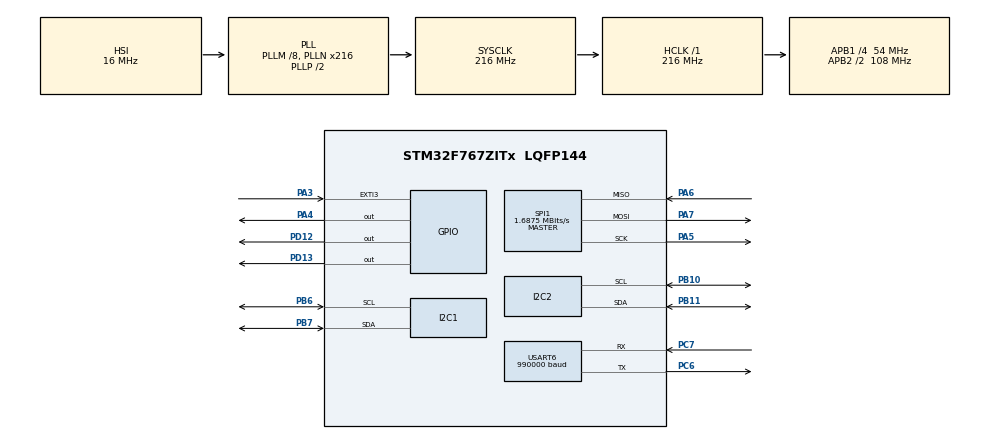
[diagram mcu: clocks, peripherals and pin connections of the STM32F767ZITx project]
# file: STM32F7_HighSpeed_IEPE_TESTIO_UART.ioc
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Dma.I2C1_TX.0.Direction=DMA_MEMORY_TO_PERIPH
Dma.I2C1_TX.0.FIFOMode=DMA_FIFOMODE_DISABLE
Dma.I2C1_TX.0.Instance=DMA1_Stream6
Dma.I2C1_TX.0.MemDataAlignment=DMA_MDATAALIGN_BYTE
Dma.I2C1_TX.0.MemInc=DMA_MINC_ENABLE
Dma.I2C1_TX.0.Mode=DMA_NORMAL
Dma.I2C1_TX.0.PeriphDataAlignment=DMA_PDATAALIGN_BYTE
Dma.I2C1_TX.0.PeriphInc=DMA_PINC_DISABLE
Dma.I2C1_TX.0.Priority=DMA_PRIORITY_LOW
Dma.Request0=I2C1_TX
Dma.Request1=SPI1_RX
Dma.Request2=SPI1_TX
Dma.Request3=USART6_TX
Dma.SPI1_RX.1.Direction=DMA_PERIPH_TO_MEMORY
Dma.SPI1_RX.1.FIFOMode=DMA_FIFOMODE_DISABLE
Dma.SPI1_RX.1.Instance=DMA2_Stream0
Dma.SPI1_RX.1.MemDataAlignment=DMA_MDATAALIGN_BYTE
Dma.SPI1_RX.1.MemInc=DMA_MINC_ENABLE
Dma.SPI1_RX.1.Mode=DMA_NORMAL
Dma.SPI1_RX.1.PeriphDataAlignment=DMA_PDATAALIGN_BYTE
Dma.SPI1_RX.1.PeriphInc=DMA_PINC_DISABLE
Dma.SPI1_RX.1.Priority=DMA_PRIORITY_LOW
Dma.SPI1_TX.2.Direction=DMA_MEMORY_TO_PERIPH
Dma.SPI1_TX.2.FIFOMode=DMA_FIFOMODE_DISABLE
Dma.SPI1_TX.2.Instance=DMA2_Stream3
Dma.SPI1_TX.2.MemDataAlignment=DMA_MDATAALIGN_BYTE
Dma.SPI1_TX.2.MemInc=DMA_MINC_ENABLE
Dma.SPI1_TX.2.Mode=DMA_NORMAL
Dma.SPI1_TX.2.PeriphDataAlignment=DMA_PDATAALIGN_BYTE
Dma.SPI1_TX.2.PeriphInc=DMA_PINC_DISABLE
Dma.SPI1_TX.2.Priority=DMA_PRIORITY_LOW
Dma.USART6_TX.3.Direction=DMA_MEMORY_TO_PERIPH
Dma.USART6_TX.3.FIFOMode=DMA_FIFOMODE_DISABLE
Dma.USART6_TX.3.Instance=DMA2_Stream6
Dma.USART6_TX.3.MemDataAlignment=DMA_MDATAALIGN_BYTE
Dma.USART6_TX.3.MemInc=DMA_MINC_ENABLE
Dma.USART6_TX.3.Mode=DMA_NORMAL
Dma.USART6_TX.3.PeriphDataAlignment=DMA_PDATAALIGN_BYTE
Dma.USART6_TX.3.PeriphInc=DMA_PINC_DISABLE
Dma.USART6_TX.3.Priority=DMA_PRIORITY_LOW
FREERTOS.BinarySemaphores01=adcBinarySem,Dynamic,NULL;I2cBinarySem,Dynamic,NULL
FREERTOS.Queues01=adcQueue,16,long,0,Dynamic,NULL,NULL
FREERTOS.Tasks01=ADC_Task,3,200,ADC_Thread,Default,NULL,Dynamic,NULL,NULL;FFT_Task,2,400,FFT_Thread,Default,NULL,Dynamic,NULL,NULL
I2C1.GeneralCallMode=I2C_GENERALCALL_ENABLE
I2C1.OwnAddress=2
I2C1.Timing=0x20404768
I2C2.GeneralCallMode=I2C_GENERALCALL_ENABLE
I2C2.OwnAddress=4
I2C2.Timing=0x20404768
IWDG.Prescaler=IWDG_PRESCALER_128
IWDG.Reload=3096
Mcu.Family=STM32F7
Mcu.Name=STM32F767ZITx
Mcu.Package=LQFP144
NVIC.DMA1_Stream6_IRQn=true\:5\:0\:false\:false\:true\:true\:false\:true
NVIC.DMA2_Stream0_IRQn=true\:5\:0\:false\:false\:true\:true\:false\:true
NVIC.DMA2_Stream3_IRQn=true\:5\:0\:false\:false\:true\:true\:false\:true
NVIC.DMA2_Stream6_IRQn=true\:5\:0\:false\:false\:true\:true\:false\:true
NVIC.EXTI3_IRQn=true\:5\:0\:false\:false\:true\:true\:true\:true
NVIC.I2C1_ER_IRQn=true\:5\:0\:false\:false\:true\:true\:true\:true
NVIC.I2C1_EV_IRQn=true\:5\:0\:false\:false\:true\:true\:true\:true
NVIC.PriorityGroup=NVIC_PRIORITYGROUP_4
NVIC.USART6_IRQn=true\:3\:0\:true\:false\:true\:false\:true\:true
PA3.GPIO_ModeDefaultEXTI=GPIO_MODE_IT_FALLING
PA3.Signal=GPXTI3
PA4.GPIO_PuPd=GPIO_PULLUP
PA4.GPIO_Speed=GPIO_SPEED_FREQ_VERY_HIGH
PA4.Signal=GPIO_Output
PA5.Mode=Full_Duplex_Master
PA5.Signal=SPI1_SCK
PA6.Mode=Full_Duplex_Master
PA6.Signal=SPI1_MISO
PA7.Mode=Full_Duplex_Master
PA7.Signal=SPI1_MOSI
PB10.Mode=I2C
PB10.Signal=I2C2_SCL
PB11.Mode=I2C
PB11.Signal=I2C2_SDA
PB6.Mode=I2C
PB6.Signal=I2C1_SCL
PB7.Mode=I2C
PB7.Signal=I2C1_SDA
PC6.Mode=Asynchronous
PC6.Signal=USART6_TX
PC7.Mode=Asynchronous
PC7.Signal=USART6_RX
PD12.Signal=GPIO_Output
PD13.Signal=GPIO_Output
PH0/OSC_IN.Mode=HSE-External-Oscillator
PH0/OSC_IN.Signal=RCC_OSC_IN
PH1/OSC_OUT.Mode=HSE-External-Oscillator
PH1/OSC_OUT.Signal=RCC_OSC_OUT
ProjectManager.HeapSize=0x200
ProjectManager.StackSize=0x400
ProjectManager.TargetToolchain=STM32CubeIDE
RCC.48MHZClocksFreq_Value=24000000
RCC.AHBFreq_Value=216000000
RCC.APB1CLKDivider=RCC_HCLK_DIV4
RCC.APB1Freq_Value=54000000
RCC.APB1TimFreq_Value=108000000
RCC.APB2CLKDivider=RCC_HCLK_DIV2
RCC.APB2Freq_Value=108000000
RCC.APB2TimFreq_Value=216000000
RCC.CortexFreq_Value=216000000
RCC.HCLKFreq_Value=216000000
RCC.HSE_VALUE=16000000
RCC.HSI_VALUE=16000000
RCC.LSE_VALUE=32768
RCC.PLLM=8
RCC.PLLMUL=RCC_PLL_MUL9
RCC.PLLN=216
RCC.PRESCALERUSB=RCC_USBCLKSOURCE_PLL_DIV1_5
RCC.SYSCLKFreq_VALUE=216000000
RCC.SYSCLKSource=RCC_SYSCLKSOURCE_PLLCLK
RCC.SYSCLKSourceVirtual=RCC_SYSCLKSOURCE_PLLCLK
RCC.USBFreq_Value=216000000
RCC.VCOOutputFreq_Value=432000000
SPI1.BaudRatePrescaler=SPI_BAUDRATEPRESCALER_64
SPI1.CLKPhase=SPI_PHASE_2EDGE
SPI1.CalculateBaudRate=1.6875 MBits/s
SPI1.DataSize=SPI_DATASIZE_8BIT
SPI1.Direction=SPI_DIRECTION_2LINES
SPI1.Mode=SPI_MODE_MASTER
SPI1.VirtualType=VM_MASTER
USART6.BaudRate=990000
USART6.VirtualMode-Asynchronous=VM_ASYNC
VP_FREERTOS_VS_CMSIS_V1.Mode=CMSIS_V1
VP_IWDG_VS_IWDG.Mode=IWDG_Activate
board=NUCLEO-F767ZI

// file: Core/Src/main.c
/* USER CODE BEGIN Header */
/**
  ******************************************************************************
  ******************************************************************************
  * @file           : main.c
  * @brief          : Main program body
  * @Author 		: George
  ******************************************************************************
  * @attention
  *
  * <h2><center>&copy; Copyright (c) 2020 STMicroelectronics.
  * All rights reserved.</center></h2>
  *
  * This software component is licensed by ST under BSD 3-Clause license,
  * the "Licens.0e"; You may not use this file except in compliance with the
  * License. You may obtain a copy of the License at:
  *                        opensource.org/licenses/BSD-3-Clause
  *
  ******************************************************************************
  */
/* USER CODE END Header */
#include "main.h"
#include "cmsis_os.h"

/* USER CODE BEGIN Includes */
#include "Delay.h"
#include "Calculate_statistic.h"
#include "arm_const_structs.h"
#include "arm_math.h"
#include "ADS1256.h"
#include "BLE_USART.h"

/* USER CODE END Includes */

/* USER CODE BEGIN PTD */
#define FFT_LENGTH_SAMPLES 8192
/* USER CODE END PTD */

/* USER CODE BEGIN PD */
//IIC EEPROM
#define ADDR_24LCxx_Write 0xA0
#define ADDR_24LCxx_Read 0xA1
#define BufferSize 0x100

/* USER CODE END PD */

I2C_HandleTypeDef hi2c1;
I2C_HandleTypeDef hi2c2;
DMA_HandleTypeDef hdma_i2c1_tx;

IWDG_HandleTypeDef hiwdg;

SPI_HandleTypeDef hspi1;
DMA_HandleTypeDef hdma_spi1_rx;
DMA_HandleTypeDef hdma_spi1_tx;

UART_HandleTypeDef huart6;
DMA_HandleTypeDef hdma_usart6_tx;

osThreadId ADC_TaskHandle;
osThreadId FFT_TaskHandle;
osMessageQId adcQueueHandle;
osSemaphoreId adcBinarySemHandle;
osSemaphoreId I2cBinarySemHandle;
/* USER CODE BEGIN PV */
/*
 * I2C private value
 * */
uint8_t aRxBuffer[1];
struct I2cCommunication
{
	uint8_t i2cRecive;
	uint8_t i2cSend;
} I2cC;

uint8_t I2cbuffer[3];

union FLOAT_BYTE
{
 float f;
 uint8_t byte[sizeof(float)];
}F2B;

/*
 *TODO: Define STM32 Studio charting value
 * */
uint8_t tempid=0;
uint8_t id=0;
float data;
int32_t read = 0;

/*
 *
 * TODO: For FFT_Thread Bluetooth transmit
 * using moving average while variable times is 3
 * variable : d
 *
 * */
uint8_t averageTimes = 0;

/*
 * TODO: Define send to ADC message
 * */
uint8_t RDATACsend_data[3] = {0xff,0xff,0xff};
uint8_t Databuffer[3] = {0x00,0x00,0x00};
uint8_t RDATACcmdbuffer[1] = {CMD_RDATAC};
uint8_t SDATACcmduffer[1] = {CMD_SDATAC};

/*
 * TODO: FFT using
 * */
uint32_t fftSize = 4096;
uint32_t ifftFlag = 0;
uint32_t doBitReverse = 1;
uint32_t FFT_COUINT = 0;
uint32_t testIndex = 0;
float32_t maxValue;
float32_t *statisticDataSet;
uint32_t maxtestIndex = 0;
uint32_t mintestIndex = 0;
uint32_t dataLength = 0;

//TODO: FFT set band
FreqMaxMin * settingValue = 0;

//TODO: IIC EEPROM 2402C
uint8_t WriteBufferEEPROM[BufferSize],ReadBufferEEPROM[BufferSize];

uint8_t WriteIICEEPROM[1];

//TODO: BLE 080i
USART_BLE USARTBLE;
/*
 * TODO:Define Statistic function
 */
extern Sv statistic_value;
/* FreeRTOS private variables;*/
UBaseType_t queueCount;
/* USER CODE END PV */

void SystemClock_Config(void);
static void MX_GPIO_Init(void);
static void MX_DMA_Init(void);
static void MX_SPI1_Init(void);
static void MX_I2C1_Init(void);
static void MX_USART6_UART_Init(void);
static void MX_I2C2_Init(void);
static void MX_IWDG_Init(void);
void ADC_Thread(void const * argument);
void FFT_Thread(void const * argument);

/* USER CODE BEGIN PFP */

//IIC EEPROM function
void readIICEEPROM_2402C(void);
void writeIICEEPROM_2402C(uint8_t *data);

/* USER CODE END PFP */

/* USER CODE BEGIN 0 */

/*=============================================================================================================
 * TODO: IIC Function
 *
 *
 * */
void readIICEEPROM_2402C(void)
{
	  HAL_I2C_Mem_Read(&hi2c2, ADDR_24LCxx_Read, 0, I2C_MEMADD_SIZE_16BIT,ReadBufferEEPROM,BufferSize, 1000);
}
void writeIICEEPROM_2402C(uint8_t *data)
{
		if(HAL_I2C_Mem_Write(&hi2c2, ADDR_24LCxx_Write, 0, I2C_MEMADD_SIZE_16BIT, data,1, 0xff) == HAL_OK)
		{
			TM_DelayMicros(5000);
		}
		else
		{
			TM_DelayMicros(5000);
		}
}

//TODO: extern float32_t testInput_f32_10khz[TEST_LENGTH_SAMPLES];
float32_t testOutput[FFT_LENGTH_SAMPLES/2];
float *dataRecive[4096];
float *xdatatoSend = ADS1256.data_buffer;
float FFTdata[8192];
float rawData[4096];

float speedans = 0;

//TODO:data transmission via UART

uint8_t transmissionDataByUart[45000];
int transmitCount = 0;

uint8_t STX[2] = {0xff,0x02};
uint8_t ETX[2] = {0xff,0x03};

enum UARTtransmissionStatus
{
	UART_BUSY = 0,
	UART_NORMAL,
}UARTtransmissionStatus;

int UART_Flag = 0;
/* USER CODE END 0 */

int main(void)
{

  /* MCU Configuration--------------------------------------------------------*/

  /* Reset of all peripherals, Initializes the Flash interface and the Systick. */
  HAL_Init();

  /* Configure the system clock */
  SystemClock_Config();

  /* Initialize all configured peripherals */
  MX_GPIO_Init();
  MX_DMA_Init();
  MX_SPI1_Init();
  MX_I2C1_Init();
  MX_USART6_UART_Init();
  MX_I2C2_Init();
  //MX_IWDG_Init();
  /* USER CODE BEGIN 2 */

//    while(1)
//    {
//
//    	  if(HAL_UART_Transmit(&huart6, "RESTART\r\n", 9, 10)==HAL_OK)
//    	  {
//
//    	  }
//    }

  USARTBLE.RxCount=0;
  HAL_UART_Receive_IT(&huart6, (uint8_t *)aRxBuffer, 1);
  __enable_irq();

  statisticDataSet = rawData;
   dataLength = sizeof(dataRecive)/sizeof(float);

   //TODO: Initial UART status
   UART_Flag = UART_NORMAL;

   //TODO: Test BLE command
   //char str[] ="This is a simple string aaa";
   float32_t aa[3] = {1,2,3};
   float32_t b[3];
   memcpy(b,aa,sizeof(aa));
   //_Bool command = checkBLECommandFromBLEGateway(str ,str);

   //TODO: Initialize ADS1256 data buffer size
   ADS1256.data_index = 0;
   ADS1256.data_length = dataLength;

   //TODO: Initialize Frequency range to collection to feature
   //F2B.f = 1.4567;

   //TODO: Initialize delay systick
   delay_init(216);
   delay_ms(500);
   delay_ms(500);
   delay_ms(500);

   TM_Delay_Init();

   readIICEEPROM_2402C();
   waitDRDY();
   writeCMD(CMD_SDATAC);

   //TODO: Reset ADS1256
   waitDRDY();
   writeCMD(CMD_RESET);
   delay_ms(10);
   TM_DelayMicros(1);

   //TODO: Initialize ADS1256 parameter (Buffer, PGA, Sampling rate)
   waitDRDY();
   setBuffer();
   waitDRDY();
   setPGA(PGA_GAIN1);
   waitDRDY();
   setDataRate(DRATE_15000);

   //TODO: Read chip id
   waitDRDY();
   id = readChipID();

   delay_ms(500);// wait for initialization

   uint8_t  posChannels [4] = {AIN0, AIN2, AIN4, AIN6};
   uint8_t  negChannels [4] = {AIN1, AIN3, AIN5, AIN7};

   //TODO: Set differential analog input channel.
   waitDRDY();
   setDIFFChannel(posChannels[0], negChannels[0]);

   waitDRDY();
   writeCMD(CMD_SELFCAL);

   waitDRDY();
   delay_us(15);
   waitDRDY();
   writeCMD(CMD_SYNC);    // SYNC command
   delay_us(10);
   waitDRDY();
   writeCMD(CMD_WAKEUP);  // WAKEUP command
   delay_us(15); // min delay: t11 = 4 * 1 / 7,68 Mhz = 0,52 micro sec

   //TODO: Set continuous mode.

	waitDRDY();
	CS_0();
	HAL_SPI_Transmit(&hspi1, RDATACcmdbuffer ,1,50);
	delay_ms(25); // min delay: t6 = 50 * 1/7.68 MHz = 6.5 microseconds
	ADS1256.data_startFlag = 1;
	delay_us(1);

  /* USER CODE END 2 */

  /* Create the semaphores(s) */
  /* definition and creation of adcBinarySem */
  osSemaphoreDef(adcBinarySem);
  adcBinarySemHandle = osSemaphoreCreate(osSemaphore(adcBinarySem), 1);

  /* definition and creation of I2cBinarySem */
  //osSemaphoreDef(I2cBinarySem);
  //I2cBinarySemHandle = osSemaphoreCreate(osSemaphore(I2cBinarySem), 1);

  /* Create the queue(s) */
  /* definition and creation of adcQueue */
  osMessageQDef(adcQueue, 16, long);
  adcQueueHandle = osMessageCreate(osMessageQ(adcQueue), NULL);

  /* Create the thread(s) */
  /* definition and creation of ADC_Task */
  osThreadDef(ADC_Task, ADC_Thread, osPriorityRealtime, 0, 200);
  ADC_TaskHandle = osThreadCreate(osThread(ADC_Task), NULL);

  /* definition and creation of FFT_Task */
  //osThreadDef(FFT_Task, FFT_Thread, osPriorityHigh, 0, 400);
  //FFT_TaskHandle = osThreadCreate(osThread(FFT_Task), NULL);

  /* Start scheduler */
  osKernelStart();

  /* We should never get here as control is now taken by the scheduler */
  /* Infinite loop */
  while (1)
  {

  }
}

void SystemClock_Config(void)
{
  RCC_OscInitTypeDef RCC_OscInitStruct = {0};
  RCC_ClkInitTypeDef RCC_ClkInitStruct = {0};
  RCC_PeriphCLKInitTypeDef PeriphClkInitStruct = {0};

  /** Configure the main internal regulator output voltage
  */
  __HAL_RCC_PWR_CLK_ENABLE();
  __HAL_PWR_VOLTAGESCALING_CONFIG(PWR_REGULATOR_VOLTAGE_SCALE1);
  /** Initializes the RCC Oscillators according to the specified parameters
  * in the RCC_OscInitTypeDef structure.
  */
  RCC_OscInitStruct.OscillatorType = RCC_OSCILLATORTYPE_HSI|RCC_OSCILLATORTYPE_LSI;
  RCC_OscInitStruct.HSIState = RCC_HSI_ON;
  RCC_OscInitStruct.HSICalibrationValue = RCC_HSICALIBRATION_DEFAULT;
  RCC_OscInitStruct.LSIState = RCC_LSI_ON;
  RCC_OscInitStruct.PLL.PLLState = RCC_PLL_ON;
  RCC_OscInitStruct.PLL.PLLSource = RCC_PLLSOURCE_HSI;
  RCC_OscInitStruct.PLL.PLLM = 8;
  RCC_OscInitStruct.PLL.PLLN = 216;
  RCC_OscInitStruct.PLL.PLLP = RCC_PLLP_DIV2;
  RCC_OscInitStruct.PLL.PLLQ = 2;
  if (HAL_RCC_OscConfig(&RCC_OscInitStruct) != HAL_OK)
  {
    Error_Handler();
  }
  /** Activate the Over-Drive mode
  */
  if (HAL_PWREx_EnableOverDrive() != HAL_OK)
  {
    Error_Handler();
  }
  /** Initializes the CPU, AHB and APB buses clocks
  */
  RCC_ClkInitStruct.ClockType = RCC_CLOCKTYPE_HCLK|RCC_CLOCKTYPE_SYSCLK
                              |RCC_CLOCKTYPE_PCLK1|RCC_CLOCKTYPE_PCLK2;
  RCC_ClkInitStruct.SYSCLKSource = RCC_SYSCLKSOURCE_PLLCLK;
  RCC_ClkInitStruct.AHBCLKDivider = RCC_SYSCLK_DIV1;
  RCC_ClkInitStruct.APB1CLKDivider = RCC_HCLK_DIV4;
  RCC_ClkInitStruct.APB2CLKDivider = RCC_HCLK_DIV2;

  if (HAL_RCC_ClockConfig(&RCC_ClkInitStruct, FLASH_LATENCY_7) != HAL_OK)
  {
    Error_Handler();
  }
  PeriphClkInitStruct.PeriphClockSelection = RCC_PERIPHCLK_USART6|RCC_PERIPHCLK_I2C1
                              |RCC_PERIPHCLK_I2C2;
  PeriphClkInitStruct.Usart6ClockSelection = RCC_USART6CLKSOURCE_PCLK2;
  PeriphClkInitStruct.I2c1ClockSelection = RCC_I2C1CLKSOURCE_PCLK1;
  PeriphClkInitStruct.I2c2ClockSelection = RCC_I2C2CLKSOURCE_PCLK1;
  if (HAL_RCCEx_PeriphCLKConfig(&PeriphClkInitStruct) != HAL_OK)
  {
    Error_Handler();
  }
}

static void MX_I2C1_Init(void)
{

  hi2c1.Instance = I2C1;
  hi2c1.Init.Timing = 0x20404768;
  hi2c1.Init.OwnAddress1 = 4;
  hi2c1.Init.AddressingMode = I2C_ADDRESSINGMODE_7BIT;
  hi2c1.Init.DualAddressMode = I2C_DUALADDRESS_DISABLE;
  hi2c1.Init.OwnAddress2 = 0;
  hi2c1.Init.OwnAddress2Masks = I2C_OA2_NOMASK;
  hi2c1.Init.GeneralCallMode = I2C_GENERALCALL_ENABLE;
  hi2c1.Init.NoStretchMode = I2C_NOSTRETCH_DISABLE;
  if (HAL_I2C_Init(&hi2c1) != HAL_OK)
  {
    Error_Handler();
  }
  /** Configure Analogue filter
  */
  if (HAL_I2CEx_ConfigAnalogFilter(&hi2c1, I2C_ANALOGFILTER_ENABLE) != HAL_OK)
  {
    Error_Handler();
  }
  /** Configure Digital filter
  */
  if (HAL_I2CEx_ConfigDigitalFilter(&hi2c1, 0) != HAL_OK)
  {
    Error_Handler();
  }

}

static void MX_I2C2_Init(void)
{

  hi2c2.Instance = I2C2;
  hi2c2.Init.Timing = 0x20404768;
  hi2c2.Init.OwnAddress1 = 8;
  hi2c2.Init.AddressingMode = I2C_ADDRESSINGMODE_7BIT;
  hi2c2.Init.DualAddressMode = I2C_DUALADDRESS_DISABLE;
  hi2c2.Init.OwnAddress2 = 0;
  hi2c2.Init.OwnAddress2Masks = I2C_OA2_NOMASK;
  hi2c2.Init.GeneralCallMode = I2C_GENERALCALL_ENABLE;
  hi2c2.Init.NoStretchMode = I2C_NOSTRETCH_DISABLE;
  if (HAL_I2C_Init(&hi2c2) != HAL_OK)
  {
    Error_Handler();
  }
  /** Configure Analogue filter
  */
  if (HAL_I2CEx_ConfigAnalogFilter(&hi2c2, I2C_ANALOGFILTER_ENABLE) != HAL_OK)
  {
    Error_Handler();
  }
  /** Configure Digital filter
  */
  if (HAL_I2CEx_ConfigDigitalFilter(&hi2c2, 0) != HAL_OK)
  {
    Error_Handler();
  }

}

static void MX_IWDG_Init(void)
{

  hiwdg.Instance = IWDG;
  hiwdg.Init.Prescaler = IWDG_PRESCALER_128;
  hiwdg.Init.Window = 4095;
  hiwdg.Init.Reload = 3096;
  if (HAL_IWDG_Init(&hiwdg) != HAL_OK)
  {
    Error_Handler();
  }

}

static void MX_SPI1_Init(void)
{

  /* SPI1 parameter configuration*/
  hspi1.Instance = SPI1;
  hspi1.Init.Mode = SPI_MODE_MASTER;
  hspi1.Init.Direction = SPI_DIRECTION_2LINES;
  hspi1.Init.DataSize = SPI_DATASIZE_8BIT;
  hspi1.Init.CLKPolarity = SPI_POLARITY_LOW;
  hspi1.Init.CLKPhase = SPI_PHASE_2EDGE;
  hspi1.Init.NSS = SPI_NSS_SOFT;
  hspi1.Init.BaudRatePrescaler = SPI_BAUDRATEPRESCALER_64;
  hspi1.Init.FirstBit = SPI_FIRSTBIT_MSB;
  hspi1.Init.TIMode = SPI_TIMODE_DISABLE;
  hspi1.Init.CRCCalculation = SPI_CRCCALCULATION_DISABLE;
  hspi1.Init.CRCPolynomial = 7;
  hspi1.Init.CRCLength = SPI_CRC_LENGTH_DATASIZE;
  hspi1.Init.NSSPMode = SPI_NSS_PULSE_DISABLE;
  if (HAL_SPI_Init(&hspi1) != HAL_OK)
  {
    Error_Handler();
  }

}

static void MX_USART6_UART_Init(void)
{

  huart6.Instance = USART6;
  huart6.Init.BaudRate = 500000;
  huart6.Init.WordLength = UART_WORDLENGTH_8B;
  huart6.Init.StopBits = UART_STOPBITS_1;
  huart6.Init.Parity = UART_PARITY_NONE;
  huart6.Init.Mode = UART_MODE_TX_RX;
  huart6.Init.HwFlowCtl = UART_HWCONTROL_NONE;
  huart6.Init.OverSampling = UART_OVERSAMPLING_16;
  huart6.Init.OneBitSampling = UART_ONE_BIT_SAMPLE_DISABLE;
  huart6.AdvancedInit.AdvFeatureInit = UART_ADVFEATURE_NO_INIT;
  if (HAL_UART_Init(&huart6) != HAL_OK)
  {
    Error_Handler();
  }

}

static void MX_DMA_Init(void)
{

  /* DMA controller clock enable */
  __HAL_RCC_DMA1_CLK_ENABLE();
  __HAL_RCC_DMA2_CLK_ENABLE();

  /* DMA interrupt init */
  /* DMA1_Stream6_IRQn interrupt configuration */
  HAL_NVIC_SetPriority(DMA1_Stream6_IRQn, 5, 0);
  HAL_NVIC_EnableIRQ(DMA1_Stream6_IRQn);
  /* DMA2_Stream0_IRQn interrupt configuration */
  HAL_NVIC_SetPriority(DMA2_Stream0_IRQn, 5, 0);
  HAL_NVIC_EnableIRQ(DMA2_Stream0_IRQn);
  /* DMA2_Stream3_IRQn interrupt configuration */
  HAL_NVIC_SetPriority(DMA2_Stream3_IRQn, 5, 0);
  HAL_NVIC_EnableIRQ(DMA2_Stream3_IRQn);
  /* DMA2_Stream6_IRQn interrupt configuration */
  HAL_NVIC_SetPriority(DMA2_Stream6_IRQn, 5, 0);
  HAL_NVIC_EnableIRQ(DMA2_Stream6_IRQn);

}

static void MX_GPIO_Init(void)
{
  GPIO_InitTypeDef GPIO_InitStruct = {0};

  /* GPIO Ports Clock Enable */
  __HAL_RCC_GPIOH_CLK_ENABLE();
  __HAL_RCC_GPIOA_CLK_ENABLE();
  __HAL_RCC_GPIOB_CLK_ENABLE();
  __HAL_RCC_GPIOD_CLK_ENABLE();
  __HAL_RCC_GPIOC_CLK_ENABLE();

  /*Configure GPIO pin Output Level */
  HAL_GPIO_WritePin(GPIOA, GPIO_PIN_4, GPIO_PIN_RESET);

  /*Configure GPIO pin Output Level */
  HAL_GPIO_WritePin(GPIOD, GPIO_PIN_12|GPIO_PIN_13, GPIO_PIN_RESET);

  /*Configure GPIO pin : PA3 */
  GPIO_InitStruct.Pin = GPIO_PIN_3;
  GPIO_InitStruct.Mode = GPIO_MODE_IT_FALLING;
  GPIO_InitStruct.Pull = GPIO_NOPULL;
  HAL_GPIO_Init(GPIOA, &GPIO_InitStruct);

  /*Configure GPIO pin : PA4 */
  GPIO_InitStruct.Pin = GPIO_PIN_4;
  GPIO_InitStruct.Mode = GPIO_MODE_OUTPUT_PP;
  GPIO_InitStruct.Pull = GPIO_PULLUP;
  GPIO_InitStruct.Speed = GPIO_SPEED_FREQ_VERY_HIGH;
  HAL_GPIO_Init(GPIOA, &GPIO_InitStruct);

  /*Configure GPIO pins : PD12 PD13 */
  GPIO_InitStruct.Pin = GPIO_PIN_12|GPIO_PIN_13;
  GPIO_InitStruct.Mode = GPIO_MODE_OUTPUT_PP;
  GPIO_InitStruct.Pull = GPIO_NOPULL;
  GPIO_InitStruct.Speed = GPIO_SPEED_FREQ_LOW;
  HAL_GPIO_Init(GPIOD, &GPIO_InitStruct);

  /* EXTI interrupt init*/
  HAL_NVIC_SetPriority(EXTI3_IRQn, 5, 0);
  HAL_NVIC_EnableIRQ(EXTI3_IRQn);

}

/* USER CODE BEGIN 4 */
void HAL_GPIO_EXTI_Callback(uint16_t GPIO_Pin)
{

	if(GPIO_Pin == GPIO_PIN_3 && id == 3 && ADS1256.data_startFlag == 1 && I2cC.i2cRecive == 0  )//&& UART_Flag == UART_NORMAL
	{
		    /* The xHigherPriorityTaskWoken parameter must be initialized to pdFALSE because it will get set to pdTRUE inside the interrupt-safe API function if a context switch is required. */
		HAL_SPI_TransmitReceive_DMA(&hspi1,RDATACsend_data,Databuffer,3);

		transmissionDataByUart[ADS1256.data_index * 3 + 0] = Databuffer[0];
		transmissionDataByUart[ADS1256.data_index * 3 + 1] = Databuffer[1];
		transmissionDataByUart[ADS1256.data_index * 3 + 2] = Databuffer[2];

		ADS1256.data_index++;

		if(ADS1256.data_index == 15000) //divide 2 for FFT real data equal 4096
		{
			UART_Flag = UART_BUSY;
			BaseType_t xHigherPriorityTaskWoken;
			xHigherPriorityTaskWoken = pdFALSE;
			xSemaphoreGiveFromISR(adcBinarySemHandle,&xHigherPriorityTaskWoken);

			if(xHigherPriorityTaskWoken == pdTRUE)
			{
				portEND_SWITCHING_ISR( xHigherPriorityTaskWoken );
			}
			//UART_Flag = UART_BUSY;

		}

	}
}

void HAL_UART_RxCpltCallback(UART_HandleTypeDef *huart)
{
  /* Prevent unused argument(s) compilation warning */
  UNUSED(huart);

  /* NOTE : This function should not be modified, when the callback is needed,
            the HAL_UART_RxCpltCallback can be implemented in the user file
   */
  USARTBLE.iapbuffer[USARTBLE.RxCount++]= aRxBuffer[0];
  if(aRxBuffer[0]==0x0A)//when receive 0x0a("\n" Line feeds string),it is a effective command, Send a receive flag.
  	{
	  USARTBLE.RxCount=0;
	  _Bool command = checkBLECommandFromBLEGateway(USARTBLE.iapbuffer ,"request",7);
	  if(command)
	  {
		  USARTBLE.IAPflag =1;
		  USARTBLE.sendflag = 0;
		  BLE_USART(huart, &statistic_value);
	  }
	  else
	  {
		  memset( USARTBLE.iapbuffer, 0, strlen(USARTBLE.iapbuffer) );
	  }

  	}
  	if(USARTBLE.RxCount>=15)//no  "\n" Line feeds string full over to 24 byte, clear data
  	{
  		USARTBLE.RxCount=0;
  		memset( USARTBLE.iapbuffer, 0, strlen(USARTBLE.iapbuffer) ); //clear Receive data
  	}

  while(HAL_UART_Receive_IT(huart, (uint8_t *)aRxBuffer, 1)==HAL_OK);
}

/* USER CODE END 4 */

void ADC_Thread(void const * argument)
{
  /* USER CODE BEGIN 5 */

  const TickType_t xMaxExpectedBlockTime = pdMS_TO_TICKS( 500 );
  /* Infinite loop */
  for(;;)
  {
		 if( xSemaphoreTake( adcBinarySemHandle, xMaxExpectedBlockTime ) == pdPASS && I2cC.i2cRecive == 0){
//				HAL_SPI_TransmitReceive_DMA(&hspi1,RDATACsend_data,Databuffer,3);

				//HAL_IWDG_Refresh(&hiwdg);
						// construct 24 bit value
//				read  = ((int32_t)Databuffer[0] << 16) & 0x00FF0000;
//				read |= ((int32_t)Databuffer[1] << 8);
//				read |= Databuffer[2];
//				if (read & 0x800000){
//					read |= 0xFF000000;
//
//				}
//
//				data = read;
//				data = data / 1670000;

//				transmissionDataByUart[ADS1256.data_index * 3 + 0] = Databuffer[0];
//				transmissionDataByUart[ADS1256.data_index * 3 + 1] = Databuffer[1];
//				transmissionDataByUart[ADS1256.data_index * 3 + 2] = Databuffer[2];

//				if(ADS1256.data_index == 15000)
//				{
//					ADS1256.data_buffer[ADS1256.data_index] = data; //plus 2 for FFT using
//					ADS1256.data_index++;
//				}
//				ADS1256.data_index++;
	//			if(ADS1256.data_index == ADS1256.data_length) //divide 2 for FFT real data equal 4096
//				if(ADS1256.data_index == 15000) //divide 2 for FFT real data equal 4096
//				{
//

//
				    HAL_UART_Transmit(&huart6, STX, 2, 50);
				    HAL_UART_Transmit(&huart6, transmissionDataByUart, 45000 , 1000);
				    HAL_UART_Transmit(&huart6, ETX, 2, 50);
//				  	ADS1256.data_index = 0;
//
//
//				  	transmitCount++;
					HAL_GPIO_TogglePin(GPIOD, GPIO_PIN_13);

					/*TODO: send data to buffer*/
//					BaseType_t xStatus;
//					xStatus = xQueueSendToBack(adcQueueHandle, &xdatatoSend , 0);
//					queueCount = uxQueueMessagesWaiting(adcQueueHandle);
//
//					if(xStatus == pdPASS)
//					{
//						vTaskResume(FFT_TaskHandle);
//					};
				    transmitCount++;
				    ADS1256.data_index = 0;
					UART_Flag = UART_NORMAL;

//				}

//				else if(ADS1256.data_index == ADS1256.data_length) //divide 2 for FFT real data equal 4096
//				{
//
//
//
//				  	ADS1256.data_index = 0;
//
//				}

				//TM_DelayMicros(8);
		}
  }
  /* USER CODE END 5 */
}

void FFT_Thread(void const * argument)
{
  /* USER CODE BEGIN FFT_Thread */
  /* Infinite loop */
  for(;;)
  {
	  BaseType_t xStatus;
	 	  queueCount = uxQueueMessagesWaiting(adcQueueHandle);
	 	  if(queueCount!=0){
	 			  xStatus = xQueueReceive(adcQueueHandle, &dataRecive, 100);
	 			  queueCount = uxQueueMessagesWaiting(adcQueueHandle);

	 			HAL_IWDG_Refresh(&hiwdg);
	 			for(uint32_t i = 0; i<dataLength; i++)
	 			{
	 				//recivedata5 = *(dataRecive[0]+i);
	 				rawData[i]=*(dataRecive[0]+i);
	 				FFTdata[i*2] = *(dataRecive[0]+i);
	 				FFTdata[i*2+1] = 0;
	 			}

	 			if(xStatus == pdPASS)
	 			{

	 				arm_max_f32(statisticDataSet, dataLength, &statistic_value.Statistic_max, &maxtestIndex);
	 				arm_min_f32(statisticDataSet, dataLength, &statistic_value.Statistic_min, &mintestIndex);
	 				/*TODO: Calculate skewness and kurtosis will cause delay*/
	 				//statistic_value.Statistic_kurtosis = Calculate_kurtosis(statisticDataSet, dataLength);
	 				//statistic_value.Statistic_skewness = Calculate_skewness(statisticDataSet, dataLength);

	 				/*TODO: to calculate 3 times moving average*/
	 				averageTimes++;
	 				if(averageTimes == 1)
	 				{
	 					statistic_value.Statistic_max_Temp = statistic_value.Statistic_max;
	 				}
	 				if(averageTimes == 2)
	 				{
	 					statistic_value.Statistic_max_Temp += statistic_value.Statistic_max;
	 				}
	 				if(averageTimes == 3)
	 				{
	 					statistic_value.Statistic_max = (statistic_value.Statistic_max_Temp +
	 							statistic_value.Statistic_max) / 3;

	 					USARTBLE.sendflag = 1;
	 					averageTimes = 0;

	 					/*TODO: BLE send data*/
	 					//BLE_USART(&huart6, &statistic_value);

	 				}

	 				//snprintf_(bb,20, "%.3f Pa", statistic_value.Statistic_max);

	 				HAL_GPIO_TogglePin(GPIOD, GPIO_PIN_12);

	 				UART_Flag = UART_NORMAL;
	 			}

	 			/*If there is no data in queue, start ads1256 conversion*/

	 	/*
	 			if(testIndex !=  refIndex)
	 			{
	 			  status = ARM_MATH_TEST_FAILURE;
	 			}
	 */
	 	  }

	 	  else{
	 		 vTaskSuspend(NULL);

	 	  }
  }
  /* USER CODE END FFT_Thread */
}

void Error_Handler(void)
{
}

/************************ (C) COPYRIGHT STMicroelectronics *****END OF FILE****/
